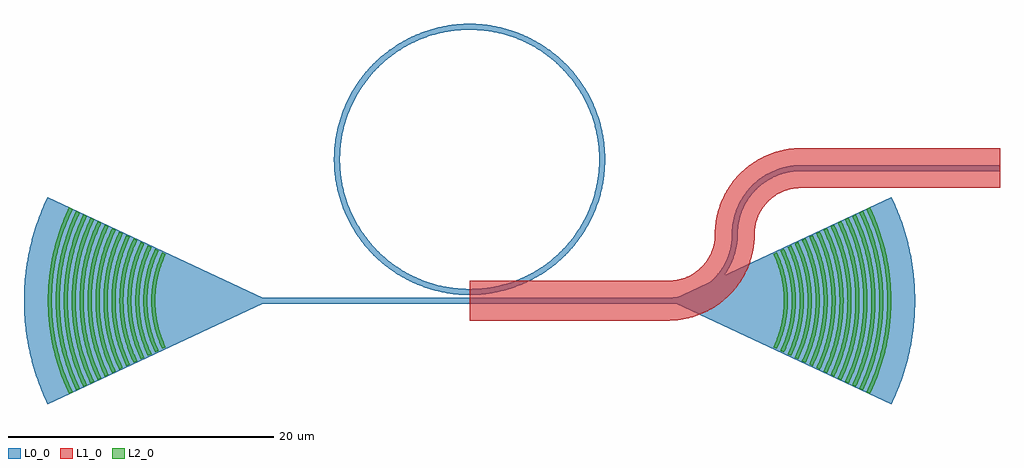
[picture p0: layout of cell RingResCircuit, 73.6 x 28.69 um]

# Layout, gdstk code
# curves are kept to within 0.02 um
from math import pi, radians
import gdstk
lib = gdstk.Library(unit=1e-6, precision=1e-09)
def R(c, l, rs):  # rectangles x0, y0, x1, y1
    for r in rs: c.add(gdstk.rectangle(r[:2], r[2:], *l))
def P(c, l, *ps):  # polygons
    for p in ps: c.add(gdstk.Polygon(p, *l))
L0_0 = (0, 0)
L1_0 = (1, 0)
L2_0 = (2, 0)

ringresonator = lib.new_cell('RingResonator')
R(ringresonator, L0_0, [(-10,-0.225,10,0.225)])
P(ringresonator, L0_0, [(10.225,10.65),(10.174,11.672),(10.021,12.684),(9.767,13.676),(9.416,14.637),(8.97,15.558),(8.435,16.43),(7.896,17.146),(7.208,17.903),(6.446,18.587),(5.621,19.192),(4.852,19.651),(3.928,20.091),(3.087,20.398),(2.097,20.658),(1.086,20.817),(0.064,20.875),(-0.958,20.83),(-1.971,20.683),(-2.964,20.436),(-3.928,20.091),(-4.852,19.651),(-5.621,19.192),(-6.446,18.587),(-7.208,17.903),(-7.896,17.146),(-8.435,16.43),(-8.97,15.558),(-9.416,14.637),(-9.767,13.676),(-10.021,12.684),(-10.174,11.672),(-10.225,10.65),(-10.174,9.628),(-10.021,8.616),(-9.767,7.624),(-9.416,6.663),(-8.97,5.742),(-8.435,4.87),(-7.896,4.154),(-7.208,3.397),(-6.446,2.713),(-5.621,2.108),(-4.852,1.649),(-3.928,1.209),(-3.087,0.902),(-2.097,0.642),(-1.086,0.483),(-0.064,0.425),(0.958,0.47),(1.971,0.617),(2.964,0.864),(3.928,1.209),(4.852,1.649),(5.621,2.108),(6.446,2.713),(7.208,3.397),(7.896,4.154),(8.435,4.87),(8.97,5.742),(9.416,6.663),(9.767,7.624),(10.021,8.616),(10.174,9.628),(10.225,10.65),(9.775,10.65),(9.755,10.025),(9.695,9.403),(9.571,8.663),(9.424,8.055),(9.239,7.457),(8.967,6.758),(8.7,6.193),(8.397,5.646),(7.766,4.714),(7.033,3.861),(6.206,3.098),(5.297,2.434),(4.318,1.88),(3.163,1.401),(1.957,1.073),(0.843,0.911),(-0.281,0.879),(-1.402,0.976),(-2.505,1.201),(-3.69,1.598),(-4.706,2.082),(-5.761,2.753),(-6.63,3.467),(-7.493,4.372),(-7.879,4.864),(-8.232,5.38),(-8.553,5.917),(-8.838,6.473),(-9.299,7.635),(-9.583,8.724),(-9.687,9.341),(-9.751,9.963),(-9.765,11.088),(-9.65,12.207),(-9.531,12.821),(-9.373,13.426),(-8.992,14.484),(-8.429,15.601),(-7.728,16.636),(-6.901,17.573),(-6.35,18.082),(-5.761,18.547),(-5.138,18.966),(-4.596,19.277),(-3.921,19.604),(-3.34,19.837),(-2.625,20.066),(-1.896,20.239),(-1.154,20.357),(-0.531,20.411),(0.219,20.423),(0.843,20.389),(1.588,20.295),(2.323,20.145),(3.044,19.939),(3.632,19.725),(4.318,19.42),(4.869,19.126),(5.401,18.797),(6.01,18.359),(6.491,17.959),(7.033,17.439),(7.533,16.88),(7.915,16.385),(8.332,15.761),(8.7,15.107),(9.016,14.427),(9.318,13.605),(9.517,12.882),(9.66,12.145),(9.746,11.4),(9.775,10.65)])

grating_coupler = lib.new_cell('Grating_Coupler')
R(grating_coupler, L0_0, [(-0.6,-0.225,0,0.225)])
P(grating_coupler, L0_0, [(-16.817,-7.81),(-17.144,-7.093),(-17.53,-6.115),(-17.857,-5.117),(-18.127,-4.102),(-18.336,-3.072),(-18.47,-2.162),(-18.557,-1.247),(-18.6,-0.065),(-18.573,0.985),(-18.485,2.032),(-18.336,3.072),(-18.127,4.102),(-17.857,5.117),(-17.53,6.115),(-17.144,7.093),(-16.817,7.81),(-0.6,0.225),(-0.6,-0.225)],
  [(-0.131,-0.024),(-0.131,-0.024),(-0.128,-0.024),(-0.128,-0.024)])
P(grating_coupler, L2_0, [(-15.196,-7.029),(-15.552,-6.235),(-15.865,-5.424),(-16.134,-4.597),(-16.387,-3.635),(-16.58,-2.66),(-16.7,-1.798),(-16.766,-1.055),(-16.8,-0.062),(-16.78,0.808),(-16.7,1.798),(-16.58,2.66),(-16.387,3.635),(-16.134,4.597),(-15.865,5.424),(-15.552,6.235),(-15.196,7.029),(-14.926,6.899),(-15.325,5.999),(-15.628,5.194),(-15.887,4.372),(-16.102,3.538),(-16.291,2.572),(-16.407,1.719),(-16.477,0.861),(-16.5,0),(-16.477,-0.861),(-16.407,-1.719),(-16.291,-2.572),(-16.102,-3.538),(-15.887,-4.372),(-15.628,-5.194),(-15.325,-5.999),(-14.926,-6.899)],
  [(-14.655,-6.769),(-15.007,-5.984),(-15.355,-5.065),(-15.611,-4.245),(-15.823,-3.412),(-15.967,-2.689),(-16.105,-1.716),(-16.177,-0.859),(-16.2,0),(-16.177,0.859),(-16.105,1.716),(-15.967,2.689),(-15.823,3.412),(-15.611,4.245),(-15.355,5.065),(-15.007,5.984),(-14.655,6.769),(-14.385,6.638),(-14.686,5.974),(-15.037,5.068),(-15.262,4.374),(-15.482,3.553),(-15.656,2.72),(-15.799,1.759),(-15.873,0.911),(-15.9,0.061),(-15.88,-0.79),(-15.799,-1.759),(-15.698,-2.48),(-15.536,-3.316),(-15.296,-4.258),(-15.037,-5.068),(-14.686,-5.974),(-14.385,-6.638)],
  [(-14.114,-6.508),(-14.412,-5.851),(-14.758,-4.954),(-15.014,-4.153),(-15.224,-3.338),(-15.388,-2.513),(-15.506,-1.679),(-15.577,-0.841),(-15.6,0),(-15.577,0.841),(-15.506,1.679),(-15.388,2.513),(-15.224,3.338),(-15.014,4.153),(-14.758,4.954),(-14.504,5.629),(-14.114,6.508),(-13.844,6.378),(-14.184,5.618),(-14.48,4.841),(-14.732,4.048),(-14.938,3.242),(-15.079,2.543),(-15.199,1.72),(-15.273,0.891),(-15.3,0.059),(-15.286,-0.653),(-15.225,-1.483),(-15.118,-2.308),(-14.938,-3.242),(-14.732,-4.048),(-14.48,-4.841),(-14.184,-5.618),(-13.844,-6.378)],
  [(-13.574,-6.248),(-14.162,-4.839),(-14.417,-4.057),(-14.626,-3.262),(-14.789,-2.456),(-14.906,-1.642),(-14.977,-0.822),(-15,0),(-14.977,0.822),(-14.906,1.642),(-14.789,2.456),(-14.626,3.262),(-14.417,4.057),(-14.162,4.839),(-13.574,6.248),(-13.304,6.118),(-13.591,5.483),(-13.885,4.726),(-14.314,3.279),(-14.48,2.483),(-14.6,1.679),(-14.673,0.87),(-14.7,0.058),(-14.686,-0.638),(-14.626,-1.449),(-14.519,-2.254),(-14.366,-3.053),(-14.167,-3.841),(-13.885,-4.726),(-13.591,-5.483),(-13.304,-6.118)],
  [(-13.033,-5.987),(-13.36,-5.255),(-13.645,-4.504),(-14.054,-3.071),(-14.21,-2.284),(-14.32,-1.488),(-14.377,-0.802),(-14.4,0),(-14.377,0.802),(-14.32,1.488),(-14.21,2.284),(-14.054,3.071),(-13.645,4.504),(-13.36,5.255),(-13.033,5.987),(-12.763,5.857),(-13.045,5.232),(-13.333,4.486),(-13.576,3.724),(-13.774,2.948),(-13.907,2.275),(-14.018,1.483),(-14.083,0.686),(-14.1,0),(-14.083,-0.686),(-14.018,-1.483),(-13.907,-2.275),(-13.774,-2.948),(-13.576,-3.724),(-13.333,-4.486),(-13.045,-5.232),(-12.763,-5.857)],
  [(-12.493,-5.727),(-12.771,-5.11),(-13.055,-4.373),(-13.463,-2.965),(-13.617,-2.19),(-13.725,-1.408),(-13.8,-0.056),(-13.786,0.62),(-13.725,1.408),(-13.617,2.19),(-13.463,2.965),(-13.055,4.373),(-12.771,5.11),(-12.493,5.727),(-12.223,5.597),(-12.497,4.988),(-12.776,4.261),(-13.177,2.87),(-13.327,2.106),(-13.419,1.444),(-13.477,0.779),(-13.5,0),(-13.477,-0.779),(-13.419,-1.444),(-13.327,-2.106),(-13.177,-2.87),(-12.776,-4.261),(-12.497,-4.988),(-12.223,-5.597)],
  [(-11.952,-5.467),(-12.461,-4.252),(-12.866,-2.884),(-13.019,-2.131),(-13.126,-1.37),(-13.2,-0.055),(-13.186,0.604),(-13.126,1.37),(-13.019,2.131),(-12.866,2.884),(-12.461,4.252),(-11.952,5.467),(-11.682,5.337),(-12.183,4.139),(-12.58,2.79),(-12.82,1.404),(-12.877,0.757),(-12.9,0),(-12.877,-0.757),(-12.82,-1.404),(-12.58,-2.79),(-12.183,-4.139),(-11.682,-5.337)],
  [(-11.411,-5.207),(-11.635,-4.717),(-11.944,-3.913),(-12.139,-3.296),(-12.323,-2.565),(-12.461,-1.824),(-12.542,-1.183),(-12.6,0),(-12.542,1.183),(-12.461,1.824),(-12.323,2.565),(-12.139,3.296),(-11.944,3.913),(-11.635,4.717),(-11.411,5.207),(-11.141,5.077),(-11.402,4.496),(-11.665,3.802),(-12.013,2.578),(-12.225,1.323),(-12.3,0.053),(-12.286,-0.583),(-12.225,-1.323),(-12.013,-2.578),(-11.665,-3.802),(-11.402,-4.496),(-11.141,-5.077)],
  [(-10.871,-4.946),(-11.167,-4.278),(-11.386,-3.691),(-11.726,-2.486),(-11.931,-1.25),(-12,0),(-11.931,1.25),(-11.726,2.486),(-11.386,3.691),(-11.167,4.278),(-10.871,4.946),(-10.601,4.816),(-11.073,3.678),(-11.416,2.495),(-11.626,1.281),(-11.7,0.052),(-11.686,-0.565),(-11.626,-1.281),(-11.416,-2.495),(-11.073,-3.678),(-10.601,-4.816)],
  [(-10.33,-4.686),(-10.764,-3.651),(-11.112,-2.478),(-11.325,-1.273),(-11.4,-0.051),(-11.386,0.561),(-11.325,1.273),(-11.135,2.378),(-10.798,3.555),(-10.33,4.686),(-10.06,4.556),(-10.486,3.539),(-10.848,2.288),(-11.031,1.201),(-11.1,0),(-11.031,-1.201),(-10.848,-2.288),(-10.486,-3.539),(-10.06,-4.556)],
  [(-9.79,-4.426),(-10.24,-3.334),(-10.539,-2.294),(-10.726,-1.228),(-10.8,-0.049),(-10.748,1.032),(-10.561,2.198),(-10.24,3.334),(-9.79,4.426),(-9.52,4.295),(-9.932,3.304),(-10.257,2.179),(-10.436,1.121),(-10.5,0.049),(-10.447,-1.024),(-10.257,-2.179),(-9.932,-3.304),(-9.52,-4.295)],
  [(-9.25,-4.165),(-9.685,-3.103),(-9.949,-2.183),(-10.132,-1.146),(-10.2,0),(-10.132,1.146),(-9.949,2.183),(-9.685,3.103),(-9.25,4.165),(-8.979,4.035),(-9.409,2.982),(-9.688,1.977),(-9.842,1.041),(-9.9,0),(-9.842,-1.041),(-9.688,-1.977),(-9.409,-2.982),(-8.979,-4.035)],
  [(-8.709,-3.905),(-9.099,-2.962),(-9.359,-2.071),(-9.537,-1.066),(-9.6,-0.046),(-9.537,1.066),(-9.359,2.071),(-9.099,2.962),(-8.709,3.905),(-8.438,3.775),(-8.823,2.841),(-9.077,1.958),(-9.247,0.962),(-9.3,0.046),(-9.247,-0.962),(-9.077,-1.958),(-8.823,-2.841),(-8.438,-3.775)],
  [(-8.168,-3.644),(-8.483,-2.901),(-8.769,-1.957),(-8.942,-0.985),(-9,0),(-8.942,0.985),(-8.769,1.957),(-8.483,2.901),(-8.168,3.644),(-7.898,3.514),(-8.238,2.696),(-8.507,1.759),(-8.661,0.797),(-8.7,0),(-8.661,-0.797),(-8.507,-1.759),(-8.238,-2.696),(-7.898,-3.514)])

ringrescircuit_route0 = lib.new_cell('RingResCircuit_route0')
R(ringrescircuit_route0, L0_0, [(-15,-0.225,-10,0.225)])

ringrescircuit_route1 = lib.new_cell('RingResCircuit_route1')
R(ringrescircuit_route1, L0_0, [(10,-0.225,15,0.225)])

trace = lib.new_cell('Trace')
P(trace, L0_0, [(0,0.225),(0,-0.225),(15,-0.225),(15.637,-0.186),(16.264,-0.07),(17.042,0.19),(17.533,0.43),(17.922,0.668),(18.63,1.241),(19.227,1.929),(19.656,2.628),(19.845,3.043),(20.023,3.56),(20.186,4.363),(20.245,5.435),(20.321,5.953),(20.481,6.542),(20.753,7.183),(21.168,7.849),(21.749,8.497),(22.438,9.03),(23.132,9.395),(23.962,9.661),(24.391,9.736),(24.913,9.774),(40,9.775),(40,10.225),(25,10.225),(24.363,10.186),(23.736,10.07),(22.958,9.81),(22.467,9.57),(22.078,9.332),(21.37,8.759),(20.773,8.071),(20.344,7.372),(20.155,6.957),(19.977,6.44),(19.814,5.637),(19.755,4.565),(19.679,4.047),(19.519,3.458),(19.247,2.817),(18.832,2.151),(18.251,1.503),(17.562,0.97),(16.868,0.605),(16.038,0.339),(15.609,0.264),(15.087,0.226)])
P(trace, L1_0, [(0,1.5),(0,-1.5),(15.102,-1.499),(15.815,-1.449),(16.616,-1.296),(17.202,-1.116),(17.675,-0.924),(18.131,-0.696),(18.654,-0.376),(19.064,-0.073),(19.523,0.332),(19.876,0.701),(20.259,1.179),(20.595,1.691),(20.837,2.14),(21.044,2.607),(21.242,3.187),(21.449,4.185),(21.552,5.6),(21.636,5.966),(21.788,6.391),(22.074,6.921),(22.396,7.338),(22.776,7.703),(23.272,8.044),(23.678,8.241),(24.034,8.364),(24.4,8.448),(24.849,8.497),(40,8.5),(40,11.5),(24.898,11.499),(24.185,11.449),(23.384,11.296),(22.798,11.116),(22.325,10.924),(21.869,10.696),(21.346,10.376),(20.936,10.073),(20.477,9.668),(20.124,9.299),(19.741,8.821),(19.208,7.951),(18.956,7.393),(18.787,6.911),(18.635,6.318),(18.551,5.815),(18.493,4.774),(18.435,4.326),(18.319,3.89),(18.149,3.472),(17.796,2.894),(17.394,2.447),(16.921,2.074),(16.322,1.759),(15.674,1.565),(15.075,1.501)])

ringrescircuit = lib.new_cell('RingResCircuit')
ringrescircuit.add(gdstk.Reference(ringresonator, (0,0)))
ringrescircuit.add(gdstk.Reference(grating_coupler, (-15,0)))
ringrescircuit.add(gdstk.Reference(grating_coupler, (15,0), rotation=pi))
ringrescircuit.add(gdstk.Reference(ringrescircuit_route0, (0,0)))
ringrescircuit.add(gdstk.Reference(ringrescircuit_route1, (0,0)))
ringrescircuit.add(gdstk.Reference(trace, (0,0)))

lib.write_gds('RingResCircuit.gds')
